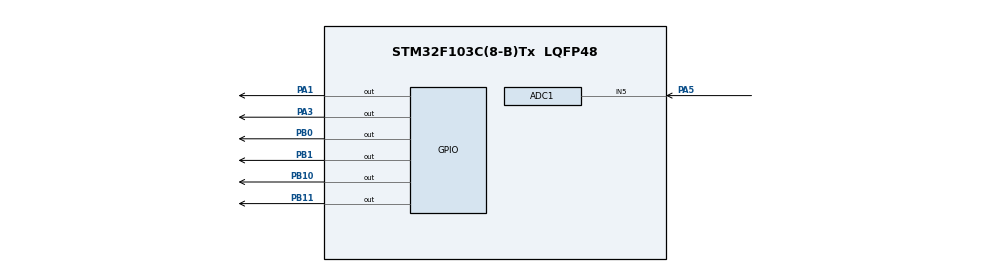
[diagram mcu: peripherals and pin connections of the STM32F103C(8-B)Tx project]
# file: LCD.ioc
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ADC1.Channel-0\#ChannelRegularConversion=ADC_CHANNEL_5
ADC1.NbrOfConversionFlag=1
ADC1.Rank-0\#ChannelRegularConversion=1
ADC1.SamplingTime-0\#ChannelRegularConversion=ADC_SAMPLETIME_1CYCLE_5
ADC1.master=1
Mcu.Family=STM32F1
Mcu.Name=STM32F103C(8-B)Tx
Mcu.Package=LQFP48
NVIC.PriorityGroup=NVIC_PRIORITYGROUP_4
PA1.Signal=GPIO_Output
PA13.Mode=Serial_Wire
PA13.Signal=SYS_JTMS-SWDIO
PA14.Mode=Serial_Wire
PA14.Signal=SYS_JTCK-SWCLK
PA3.Signal=GPIO_Output
PA5.Signal=ADCx_IN5
PB0.Signal=GPIO_Output
PB1.Signal=GPIO_Output
PB10.Signal=GPIO_Output
PB11.Signal=GPIO_Output
ProjectManager.HeapSize=0x200
ProjectManager.StackSize=0x400
ProjectManager.TargetToolchain=STM32CubeIDE
RCC.APB1Freq_Value=8000000
RCC.APB2Freq_Value=8000000
SH.ADCx_IN5.0=ADC1_IN5,IN5
board=custom

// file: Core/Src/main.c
/* USER CODE BEGIN Header */
/**
  ******************************************************************************
  * @file           : main.c
  * @brief          : Main program body
  ******************************************************************************
  * @attention
  *
  * Copyright (c) 2024 STMicroelectronics.
  * All rights reserved.
  *
  * This software is licensed under terms that can be found in the LICENSE file
  * in the root directory of this software component.
  * If no LICENSE file comes with this software, it is provided AS-IS.
  *
  ******************************************************************************
  */
/* USER CODE END Header */
#include "main.h"

/* USER CODE BEGIN Includes */
#include "lcd.h"
/* USER CODE END Includes */

ADC_HandleTypeDef hadc1;

/* USER CODE BEGIN PV */
int data;
float volt;
float temp;
int cnt=0;

char c[50];

/* USER CODE END PV */

void SystemClock_Config(void);
static void MX_GPIO_Init(void);
static void MX_ADC1_Init(void);

int main(void)
{

  /* MCU Configuration--------------------------------------------------------*/

  /* Reset of all peripherals, Initializes the Flash interface and the Systick. */
  HAL_Init();

  /* Configure the system clock */
  SystemClock_Config();

  /* Initialize all configured peripherals */
  MX_GPIO_Init();
  MX_ADC1_Init();
  /* USER CODE BEGIN 2 */

  HAL_ADC_Start(&hadc1);
  // Lcd_PortType ports[] = { D4_GPIO_Port, D5_GPIO_Port, D6_GPIO_Port, D7_GPIO_Port };
  Lcd_PortType ports[] = { GPIOB, GPIOB, GPIOB, GPIOB };
    // Lcd_PinType pins[] = {D4_Pin, D5_Pin, D6_Pin, D7_Pin};
  Lcd_PinType pins[] = {GPIO_PIN_0, GPIO_PIN_1, GPIO_PIN_10, GPIO_PIN_11};
  Lcd_HandleTypeDef lcd;
    // Lcd_create(ports, pins, RS_GPIO_Port, RS_Pin, EN_GPIO_Port, EN_Pin, LCD_4_BIT_MODE);
  lcd = Lcd_create(ports, pins, GPIOA, GPIO_PIN_1, GPIOA, GPIO_PIN_3, LCD_4_BIT_MODE);
  Lcd_cursor(&lcd, 0,0);
  Lcd_string(&lcd, "Volt:");
  Lcd_cursor(&lcd, 1,0);
  Lcd_string(&lcd, "Temp:");
  for ( int x = 1; x <= 500 ; x++ )  {

	 data = HAL_ADC_GetValue(&hadc1);
	 	volt = (float) data/4095*3.3;// / 4095*3.3;
	     //Lcd_cursor(&lcd, 1,7);
	     //Lcd_float(&lcd,volt );
	    // Lcd_cursor(&lcd, 1,1);
	     //Lcd_int(&lcd,data );
	     sprintf(c, "%.5f", volt);
	     Lcd_cursor(&lcd, 0,6);
	     Lcd_string(&lcd, c);
	     temp=volt/0.01-273;
	     sprintf(c, "%.5f", temp);
	     Lcd_cursor(&lcd, 1,6);
	     Lcd_string(&lcd, c);
		 HAL_Delay (1000);
  }

  /* USER CODE END 2 */

  /* Infinite loop */
  while (1)
  {

    /* USER CODE BEGIN 3 */
		 //Lcd_cursor(&lcd, 1,4);
		 //Lcd_int(&lcd,cnt );
		 /*HAL_Delay (1000);

		 data = HAL_ADC_GetValue(&hadc1);
		 	volt = (float) data/4095*3.3;// / 4095*3.3;
		     //Lcd_cursor(&lcd, 1,7);
		     //Lcd_float(&lcd,volt );
		    // Lcd_cursor(&lcd, 1,1);
		     //Lcd_int(&lcd,data );
		     sprintf(c, "%.5f", volt);
		     Lcd_cursor(&lcd, 0,6);
		     Lcd_string(&lcd, c);
		     temp=volt/0.01-273;
		     sprintf(c, "%.5f", temp);
		     Lcd_cursor(&lcd, 1,6);
		     Lcd_string(&lcd, c);*/
  }
  /* USER CODE END 3 */
}

void SystemClock_Config(void)
{
  RCC_OscInitTypeDef RCC_OscInitStruct = {0};
  RCC_ClkInitTypeDef RCC_ClkInitStruct = {0};
  RCC_PeriphCLKInitTypeDef PeriphClkInit = {0};

  /** Initializes the RCC Oscillators according to the specified parameters
  * in the RCC_OscInitTypeDef structure.
  */
  RCC_OscInitStruct.OscillatorType = RCC_OSCILLATORTYPE_HSI;
  RCC_OscInitStruct.HSIState = RCC_HSI_ON;
  RCC_OscInitStruct.HSICalibrationValue = RCC_HSICALIBRATION_DEFAULT;
  RCC_OscInitStruct.PLL.PLLState = RCC_PLL_NONE;
  if (HAL_RCC_OscConfig(&RCC_OscInitStruct) != HAL_OK)
  {
    Error_Handler();
  }

  /** Initializes the CPU, AHB and APB buses clocks
  */
  RCC_ClkInitStruct.ClockType = RCC_CLOCKTYPE_HCLK|RCC_CLOCKTYPE_SYSCLK
                              |RCC_CLOCKTYPE_PCLK1|RCC_CLOCKTYPE_PCLK2;
  RCC_ClkInitStruct.SYSCLKSource = RCC_SYSCLKSOURCE_HSI;
  RCC_ClkInitStruct.AHBCLKDivider = RCC_SYSCLK_DIV1;
  RCC_ClkInitStruct.APB1CLKDivider = RCC_HCLK_DIV1;
  RCC_ClkInitStruct.APB2CLKDivider = RCC_HCLK_DIV1;

  if (HAL_RCC_ClockConfig(&RCC_ClkInitStruct, FLASH_LATENCY_0) != HAL_OK)
  {
    Error_Handler();
  }
  PeriphClkInit.PeriphClockSelection = RCC_PERIPHCLK_ADC;
  PeriphClkInit.AdcClockSelection = RCC_ADCPCLK2_DIV2;
  if (HAL_RCCEx_PeriphCLKConfig(&PeriphClkInit) != HAL_OK)
  {
    Error_Handler();
  }
}

static void MX_ADC1_Init(void)
{

  ADC_ChannelConfTypeDef sConfig = {0};

  /** Common config
  */
  hadc1.Instance = ADC1;
  hadc1.Init.ScanConvMode = ADC_SCAN_DISABLE;
  hadc1.Init.ContinuousConvMode = DISABLE;
  hadc1.Init.DiscontinuousConvMode = DISABLE;
  hadc1.Init.ExternalTrigConv = ADC_SOFTWARE_START;
  hadc1.Init.DataAlign = ADC_DATAALIGN_RIGHT;
  hadc1.Init.NbrOfConversion = 1;
  if (HAL_ADC_Init(&hadc1) != HAL_OK)
  {
    Error_Handler();
  }

  /** Configure Regular Channel
  */
  sConfig.Channel = ADC_CHANNEL_5;
  sConfig.Rank = ADC_REGULAR_RANK_1;
  sConfig.SamplingTime = ADC_SAMPLETIME_1CYCLE_5;
  if (HAL_ADC_ConfigChannel(&hadc1, &sConfig) != HAL_OK)
  {
    Error_Handler();
  }

}

static void MX_GPIO_Init(void)
{
  GPIO_InitTypeDef GPIO_InitStruct = {0};

  /* GPIO Ports Clock Enable */
  __HAL_RCC_GPIOA_CLK_ENABLE();
  __HAL_RCC_GPIOB_CLK_ENABLE();

  /*Configure GPIO pin Output Level */
  HAL_GPIO_WritePin(GPIOA, GPIO_PIN_1|GPIO_PIN_3, GPIO_PIN_RESET);

  /*Configure GPIO pin Output Level */
  HAL_GPIO_WritePin(GPIOB, GPIO_PIN_0|GPIO_PIN_1|GPIO_PIN_10|GPIO_PIN_11, GPIO_PIN_RESET);

  /*Configure GPIO pins : PA1 PA3 */
  GPIO_InitStruct.Pin = GPIO_PIN_1|GPIO_PIN_3;
  GPIO_InitStruct.Mode = GPIO_MODE_OUTPUT_PP;
  GPIO_InitStruct.Pull = GPIO_NOPULL;
  GPIO_InitStruct.Speed = GPIO_SPEED_FREQ_LOW;
  HAL_GPIO_Init(GPIOA, &GPIO_InitStruct);

  /*Configure GPIO pins : PB0 PB1 PB10 PB11 */
  GPIO_InitStruct.Pin = GPIO_PIN_0|GPIO_PIN_1|GPIO_PIN_10|GPIO_PIN_11;
  GPIO_InitStruct.Mode = GPIO_MODE_OUTPUT_PP;
  GPIO_InitStruct.Pull = GPIO_NOPULL;
  GPIO_InitStruct.Speed = GPIO_SPEED_FREQ_LOW;
  HAL_GPIO_Init(GPIOB, &GPIO_InitStruct);

}

void Error_Handler(void)
{
  __disable_irq();
  while (1)
  {
  }
}
